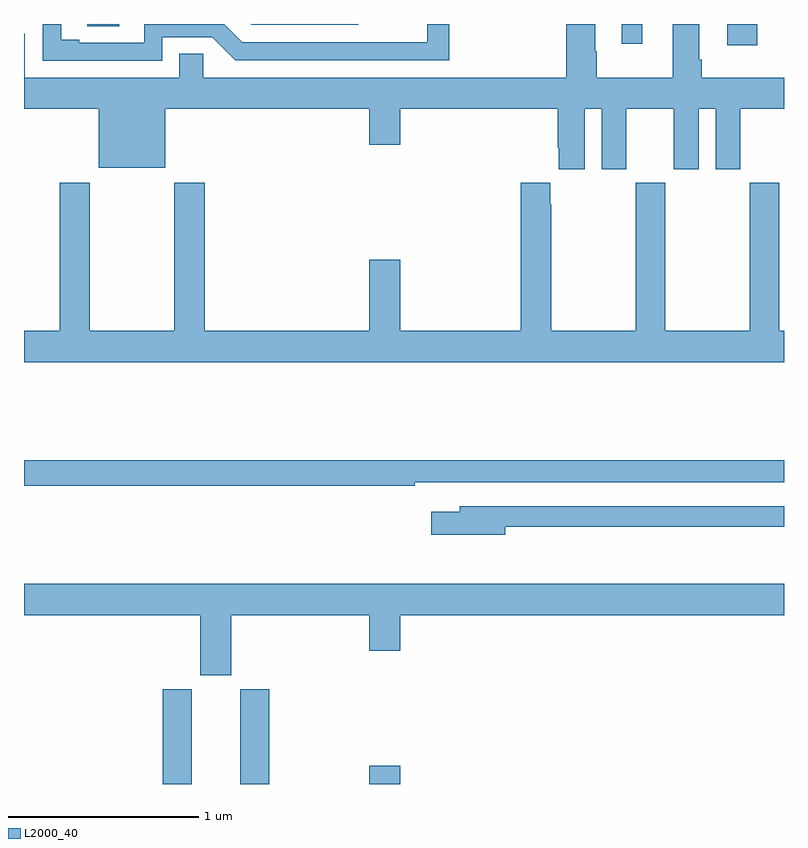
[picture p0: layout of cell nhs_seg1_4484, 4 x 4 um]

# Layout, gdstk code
import gdstk
lib = gdstk.Library(unit=1e-6, precision=1e-09)
def R(c, l, rs):  # rectangles x0, y0, x1, y1
    for r in rs: c.add(gdstk.rectangle(r[:2], r[2:], *l))
def P(c, l, *ps):  # polygons
    for p in ps: c.add(gdstk.Polygon(p, *l))
L2000_40 = (2000, 40)

nhs_seg1_4484 = lib.new_cell('nhs_seg1_4484')
R(nhs_seg1_4484, L2000_40, [(355.73,528.199,355.882,528.699), (356.138,528.199,356.291,528.699), (356.816,528.199,356.98,528.295), (358.7,532.086,358.859,532.199), (358.145,532.095,358.255,532.199), (355.332,532.186,355.502,532.199)])
P(nhs_seg1_4484, L2000_40, [(356.76,532.199),(356.194,532.199),(356.199,532.194),(356.76,532.194)],
  [(357.952,531.752),(358.04,531.752),(358.04,531.435),(358.171,531.435),(358.171,531.752),(358.421,531.752),(358.421,531.435),(358.552,531.435),(358.552,531.752),(358.64,531.752),(358.64,531.435),(358.771,531.435),(358.771,531.752),(359,531.752),(359,531.916),(358.568,531.916),(358.568,532.012),(358.555,532.012),(358.555,532.199),(358.415,532.199),(358.415,531.916),(358.014,531.916),(358.014,532.055),(358.006,532.055),(358.006,532.199),(357.854,532.199),(357.854,531.916),(355.944,531.916),(355.944,532.043),(355.817,532.043),(355.817,531.916),(355.003,531.916),(355.003,532.148),(355,532.148),(355,531.752),(355.394,531.752),(355.394,531.443),(355.744,531.443),(355.744,531.752),(356.816,531.752),(356.816,531.564),(356.98,531.564),(356.98,531.752),(357.809,531.752),(357.809,531.547),(357.815,531.547),(357.815,531.435),(357.952,531.435)],
  [(355.728,532.128),(355.992,532.128),(356.112,532.008),(357.239,532.008),(357.239,532.199),(357.123,532.199),(357.123,532.104),(356.148,532.104),(356.053,532.199),(355.632,532.199),(355.632,532.101),(355.291,532.101),(355.291,532.116),(355.195,532.116),(355.195,532.199),(355.098,532.199),(355.098,532.005),(355.728,532.005)],
  [(359,530.584),(358.974,530.584),(358.974,531.364),(358.819,531.364),(358.819,530.584),(358.374,530.584),(358.374,531.364),(358.219,531.364),(358.219,530.584),(357.774,530.584),(357.774,531.251),(357.769,531.251),(357.769,531.364),(357.614,531.364),(357.614,530.584),(356.98,530.584),(356.98,530.959),(356.816,530.959),(356.816,530.584),(355.952,530.584),(355.952,531.364),(355.792,531.364),(355.792,530.584),(355.347,530.584),(355.347,531.364),(355.187,531.364),(355.187,530.584),(355,530.584),(355,530.42),(359,530.42)],
  [(357.056,529.788),(359,529.788),(359,529.904),(355,529.904),(355,529.768),(357.056,529.768)],
  [(357.532,529.554),(359,529.554),(359,529.662),(357.293,529.662),(357.293,529.633),(357.144,529.633),(357.144,529.511),(357.532,529.511)],
  [(356.092,529.088),(356.816,529.088),(356.816,528.9),(356.98,528.9),(356.98,529.088),(359,529.088),(359,529.252),(355,529.252),(355,529.088),(355.928,529.088),(355.928,528.771),(356.092,528.771)])

lib.write_gds('nhs_seg1_4484.gds')
